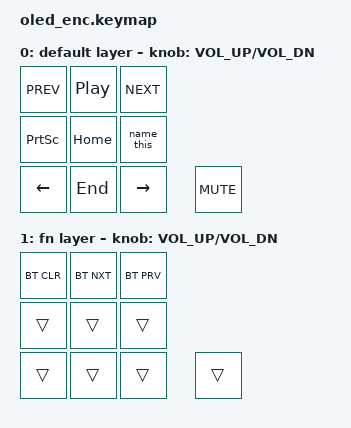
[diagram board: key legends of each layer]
#include <behaviors.dtsi>
#include <dt-bindings/zmk/keys.h>
#include <dt-bindings/zmk/bt.h>

#define DEFAULT 0
#define FUNC    1

/ {
    combos {
        compatible = "zmk,combos";
        combo_bootloader {
            timeout-ms = <50>;
            key-positions = <3 4 5>;
            bindings = <&bootloader>;
        };
        combo_layer {
            timeout-ms = <50>;
            key-positions = <7 8>;
            bindings = <&tog FUNC>;
        };
        combo_studio_unlock {
            timeout-ms = <50>;
            key-positions = <0 1>;
            bindings = <&studio_unlock>;
        };
    };
};

/ {
    macros {
        name_this: name_this {
            compatible = "zmk,behavior-macro";
            #binding-cells = <0>;
            bindings
                = <&macro_press &kp LSHFT>
                , <&macro_tap &kp T &kp H &kp E &kp R &kp M &kp A &kp L>
                , <&macro_release &kp LSHFT>
                ;
        };
    };
};

/ {
    keymap {
        compatible = "zmk,keymap";

        default_layer {
            display-name = "default layer";
            bindings = <
                &kp C_PREV  &kp C_PLAY_PAUSE  &kp C_NEXT
                &kp PSCRN   &kp HOME          &name_this
                &kp LEFT    &kp END           &kp RIGHT   &kp C_MUTE
            >;

            sensor-bindings = <&inc_dec_kp C_VOL_UP C_VOL_DN>;
        };

        fn_layer {
            display-name = "fn layer";
            bindings = <
                &bt BT_CLR  &bt BT_NXT  &bt BT_PRV
                &trans      &trans      &trans
                &trans      &trans      &trans      &trans
            >;

            sensor-bindings = <&inc_dec_kp C_VOL_UP C_VOL_DN>;
        };

        extra1 {
            status = "reserved";
        };
    };
};
